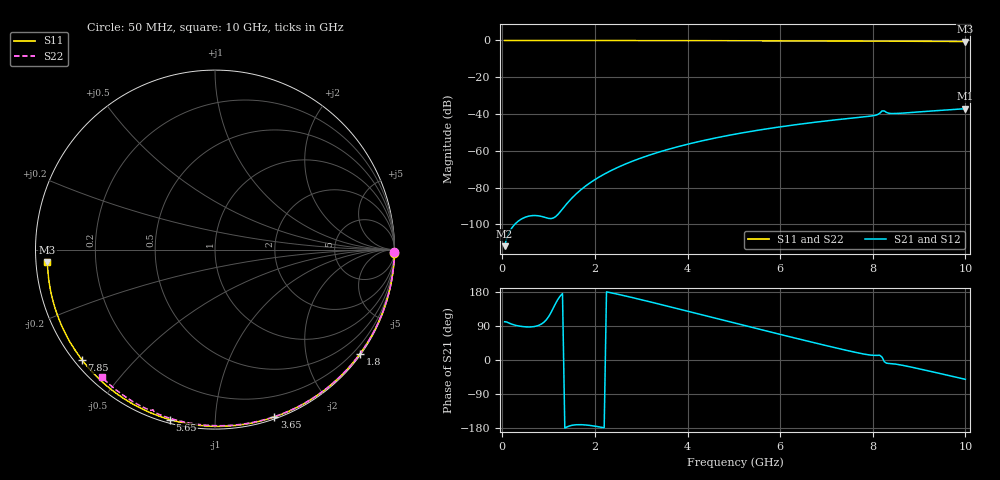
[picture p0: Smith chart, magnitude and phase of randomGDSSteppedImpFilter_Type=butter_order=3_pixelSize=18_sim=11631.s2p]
! freq	dB(S11)	phase(S11)	dB(S12)	phase(S12)
!  dB(S21)	phase(S21)	dB(S22)	phase(S22)
!S-par simulation data
#  GHz  S  DB  R 50
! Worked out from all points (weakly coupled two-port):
!   200 points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, 50 MHz to 10 GHz, reference 50 ohm
!   highest |S21| = -37.12 dB at 10 GHz (marker M1); lowest = -111.9 dB at 50 MHz (marker M2)
!   lowest |S11| = -0.6 dB at 10 GHz (marker M3), VSWR 30.28, Z = 1.65 - j1.84 ohm
!   |S11| at or under -10 dB: nowhere
!   |S22| runs from -0.4 to 0.0 dB; largest |S21 - S12| = 0
!   S11 on the Smith chart (normalised r, x): 50 MHz: open; 1.8 GHz: 0.03, -3.09; 3.65 GHz: 0.02, -1.42; 5.65 GHz: 0.02, -0.77; 7.85 GHz: 0.02, -0.36; 10 GHz: 0.03, -0.04
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0.05  -0.00 -1.0  -111.89 100.9  -111.89 100.9  -0.00 -0.8
0.9  -0.02 -18.1  -96.09 99.8  -96.09 99.8  -0.02 -13.6
1.75  -0.04 -34.9  -80.13 -171.0  -80.13 -171.0  -0.03 -26.2
1.8  -0.05 -35.8  -79.16 -171.5  -79.16 -171.5  -0.03 -26.9
2.1  -0.05 -41.6  -74.16 -176.6  -74.16 -176.6  -0.04 -31.3
2.5  -0.06 -49.2  -68.96 173.4  -68.96 173.4  -0.05 -37.1
2.9  -0.07 -56.7  -64.81 162.1  -64.81 162.1  -0.06 -42.8
3.4  -0.09 -65.9  -60.58 147.2  -60.58 147.2  -0.07 -49.9
3.65  -0.10 -70.5  -58.76 139.5  -58.76 139.5  -0.07 -53.4
4.35  -0.12 -82.8  -54.40 118.0  -54.40 118.0  -0.09 -62.9
5.05  -0.15 -94.8  -50.87 96.5  -50.87 96.5  -0.11 -72.2
5.65  -0.18 -104.9  -48.32 78.2  -48.32 78.2  -0.13 -80.0
6.7  -0.24 -122.0  -44.65 46.6  -44.65 46.6  -0.18 -93.1
7.85  -0.33 -140.4  -41.44 14.8  -41.44 14.8  -0.25 -106.9
8.1  -0.36 -144.4  -40.37 12.3  -40.37 12.3  -0.29 -110.1
8.15  -0.36 -145.1  -39.62 12.5  -39.62 12.5  -0.32 -110.7
8.2  -0.37 -145.9  -38.32 7.5  -38.32 7.5  -0.39 -111.1
8.25  -0.37 -146.7  -38.35 -4.6  -38.35 -4.6  -0.37 -111.2
8.35  -0.38 -148.4  -39.59 -9.1  -39.59 -9.1  -0.31 -112.4
8.55  -0.40 -151.6  -39.66 -11.9  -39.66 -11.9  -0.31 -114.8
9.2  -0.47 -162.2  -38.50 -28.7  -38.50 -28.7  -0.36 -122.3
10  -0.57 -175.8  -37.12 -51.0  -37.12 -51.0  -0.44 -131.4
